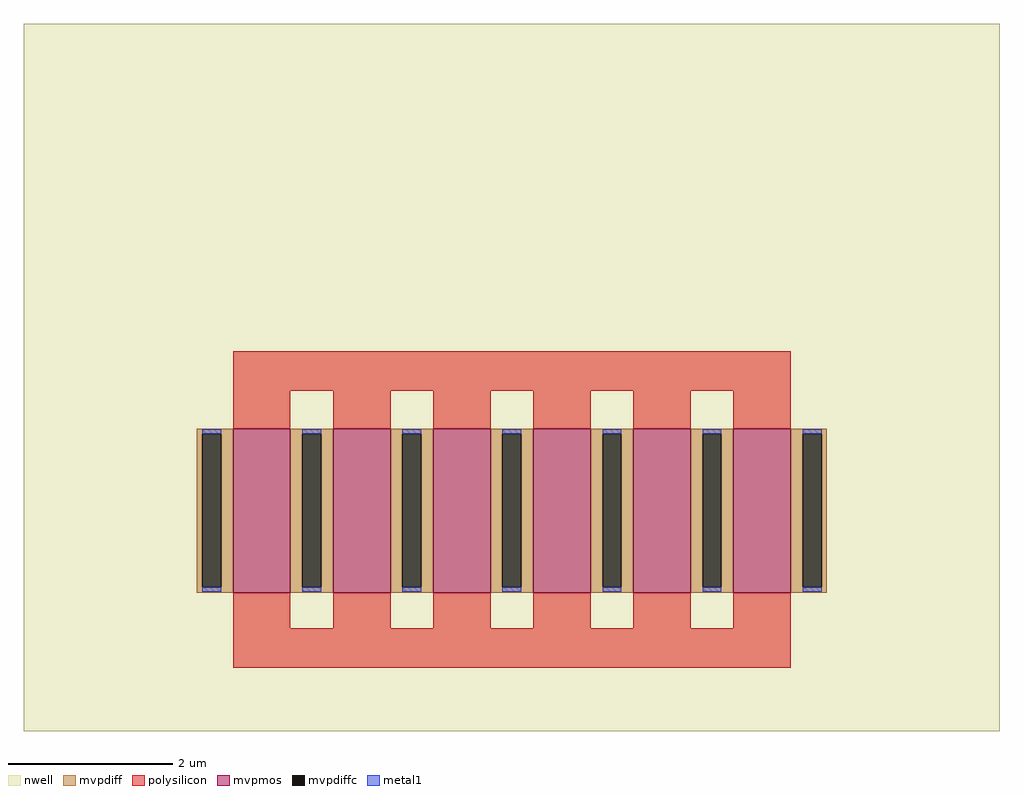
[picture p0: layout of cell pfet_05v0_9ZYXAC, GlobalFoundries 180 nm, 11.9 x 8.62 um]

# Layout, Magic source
magic
tech gf180mcuD
magscale 1 10
<< nwell >>
rect -1191 -538 1189 1187
<< mvpmos >>
rect -680 -200 -540 200
rect -436 -200 -296 200
rect -192 -200 -52 200
rect 52 -200 192 200
rect 296 -200 436 200
rect 540 -200 680 200
<< mvpdiff >>
rect -768 187 -680 200
rect -768 -187 -755 187
rect -709 -187 -680 187
rect -768 -200 -680 -187
rect -540 187 -436 200
rect -540 -187 -511 187
rect -465 -187 -436 187
rect -540 -200 -436 -187
rect -296 187 -192 200
rect -296 -187 -267 187
rect -221 -187 -192 187
rect -296 -200 -192 -187
rect -52 187 52 200
rect -52 -187 -23 187
rect 23 -187 52 187
rect -52 -200 52 -187
rect 192 187 296 200
rect 192 -187 221 187
rect 267 -187 296 187
rect 192 -200 296 -187
rect 436 187 540 200
rect 436 -187 465 187
rect 511 -187 540 187
rect 436 -200 540 -187
rect 680 187 768 200
rect 680 -187 709 187
rect 755 -187 768 187
rect 680 -200 768 -187
<< mvpdiffc >>
rect -755 -187 -709 187
rect -511 -187 -465 187
rect -267 -187 -221 187
rect -23 -187 23 187
rect 221 -187 267 187
rect 465 -187 511 187
rect 709 -187 755 187
<< polysilicon >>
rect -680 292 680 388
rect -680 200 -540 292
rect -436 200 -296 292
rect -192 200 -52 292
rect 52 200 192 292
rect 296 200 436 292
rect 540 200 680 292
rect -680 -287 -540 -200
rect -436 -287 -296 -200
rect -192 -287 -52 -200
rect 52 -287 192 -200
rect 296 -287 436 -200
rect 540 -287 680 -200
rect -680 -383 680 -287
<< metal1 >>
rect -755 187 -709 198
rect -755 -198 -709 -187
rect -511 187 -465 198
rect -511 -198 -465 -187
rect -267 187 -221 198
rect -267 -198 -221 -187
rect -23 187 23 198
rect -23 -198 23 -187
rect 221 187 267 198
rect 221 -198 267 -187
rect 465 187 511 198
rect 465 -198 511 -187
rect 709 187 755 198
rect 709 -198 755 -187
<< properties >>
string gencell pfet_05v0
string library gf180mcu
string parameters w 2 l 0.7 m 1 nf 6 diffcov 100 polycov 100 guard 0 glc 0 grc 0 gtc 0 gbc 0 tbcov 100 rlcov 100 topc 0 botc 0 poverlap 1 doverlap 1 lmin 0.5 wmin 0.3 class mosfet full_metal 0 compatible {pfet_03v3 pfet_05v0 pfet_06v0}
<< end >>
